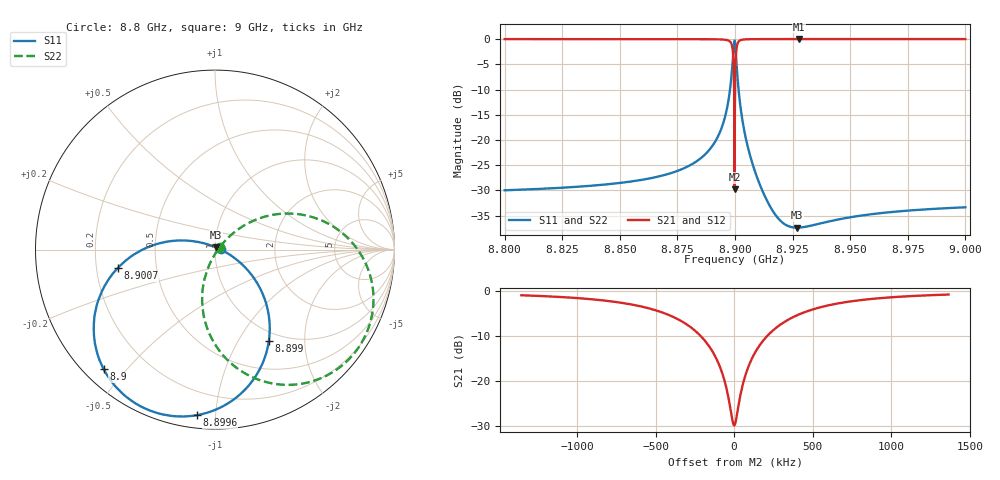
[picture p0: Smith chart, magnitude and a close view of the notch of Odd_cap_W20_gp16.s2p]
! Sonnet Data File
! From: emgraph Version : 16.52
! From Project: Resonator2_cp
! Data is De-embedded
! Data File Written: 10/07/2017 00:08:07
!< HDATE 10/06/2017 20:18:08
!< MDATE 10/06/2017 20:18:08
!< PARAMS
!< gap = 16.0
!< Length = 400.0
!< Pwid1 = 2000.0
!< Pwid2 = 2000.0
!< Air_gap = 12.0
!< Width = 20.0
!< END PARAMS
# GHZ S MA R 40.13000
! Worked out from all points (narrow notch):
!   1595 points, 8.8 GHz to 9 GHz, reference 40.13 ohm
!   highest |S21| = 0.00 dB at 8.9278 GHz (marker M1); lowest = -29.8 dB at 8.8998 GHz (marker M2)
!   notch at M2: 29.8 dB deep, 229 kHz wide at half that depth
!   lowest |S11| = -37.4 dB at 8.9268 GHz (marker M3), VSWR 1.03, Z = 40.5 + j1.01 ohm
!   |S11| at or under -10 dB: start of sweep to 8.8978 GHz; 8.9015 GHz to end of sweep
!   |S22| runs from -37.4 to -0.3 dB; largest |S21 - S12| = 0
!   S11 on the Smith chart (normalised r, x): 8.8 GHz: 1.07, +0.00; 8.899 GHz: 0.87, -1.36; 8.8996 GHz: 0.07, -0.89; 8.9 GHz: 0.06, -0.43; 8.9007 GHz: 0.29, -0.09; 9 GHz: 1.04, +0.01
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8.8  0.03166 1.4  0.9995 -74.5  0.9995 -74.5  0.03167 29.7
!< P1 F=8.8 Eeff=(5.24625567 -2.3027e-5) Z0=(40.1432274 8.93341e-5) R=0.0 C=0.0
!< P2 F=8.8 Eeff=(5.24625567 -2.3027e-5) Z0=(40.1432274 8.93341e-5) R=0.0 C=0.0
8.8334  0.03455 -1.3  0.9994 -74.9  0.9994 -74.9  0.03456 31.4
8.8668  0.04338 -7.0  0.999 -75.7  0.999 -75.7  0.04339 35.5
8.8906  0.09012 -19.5  0.9958 -78.7  0.9958 -78.7  0.09016 42.0
8.89696  0.2318 -33.5  0.9712 -87.0  0.9712 -87.0  0.232 38.7
8.898965  0.5913 -59.5  0.7925 -109.9  0.7925 -109.9  0.5918 17.0
8.899394  0.8107 -79.3  0.5474 -127.8  0.5474 -127.8  0.8114 -1.7
8.899627  0.9281 -96.3  0.285 -141.0  0.285 -141.0  0.9289 -18.1
8.899731  0.959 -105.3  0.1357 -142.5  0.1357 -142.5  0.9599 -26.9
8.899816  0.9673 -112.9  0.03228 -75.6  0.03228 -75.6  0.9682 -34.3
8.8999  0.9588 -120.6  0.1344 -5.0  0.1344 -5.0  0.9597 -41.7
8.9  0.9285 -129.4  0.2807 -6.3  0.2807 -6.3  0.9293 -50.3
8.900042  0.9102 -133.0  0.3384 -8.6  0.3384 -8.6  0.911 -53.8
8.900702  0.5521 -169.2  0.8205 -40.1  0.8205 -40.1  0.5526 -88.3
8.903024  0.1672 162.5  0.9847 -64.1  0.9847 -64.1  0.1674 -109.8
8.9098  0.04121 140.2  0.999 -71.5  0.999 -71.5  0.04129 -102.9
8.9182  0.01727 106.2  0.9998 -73.2  0.9998 -73.2  0.01732 -72.5
8.9268  0.01349 67.3  0.9999 -73.9  0.9999 -73.9  0.01352 -35.0
8.9278  0.01351 63.7  0.9999 -73.9  0.9999 -73.9  0.01354 -31.6
8.9334  0.01419 48.5  0.9999 -74.2  0.9999 -74.2  0.01421 -16.9
8.9668  0.01917 20.5  0.9998 -75.0  0.9998 -75.0  0.01917 9.5
9  0.02149 14.2  0.9998 -75.5  0.9998 -75.5  0.02149 14.9
